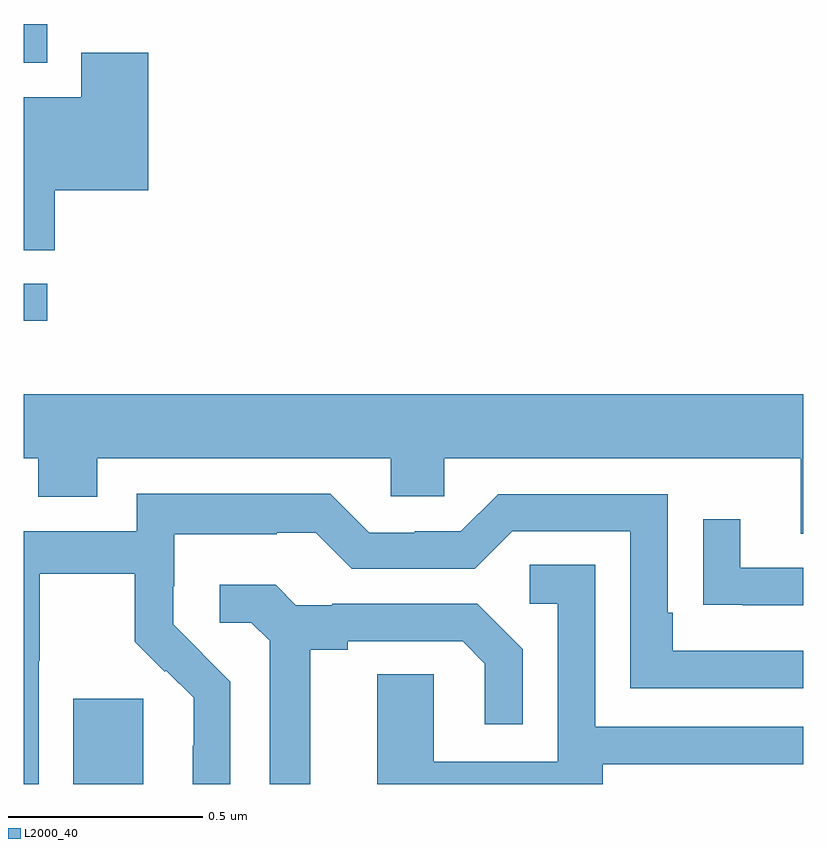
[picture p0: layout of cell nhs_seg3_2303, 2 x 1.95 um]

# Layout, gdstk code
import gdstk
lib = gdstk.Library(unit=1e-6, precision=1e-09)
def R(c, l, rs):  # rectangles x0, y0, x1, y1
    for r in rs: c.add(gdstk.rectangle(r[:2], r[2:], *l))
def P(c, l, *ps):  # polygons
    for p in ps: c.add(gdstk.Polygon(p, *l))
L2000_40 = (2000, 40)

nhs_seg3_2303 = lib.new_cell('nhs_seg3_2303')
R(nhs_seg3_2303, L2000_40, [(139.127,713.4,139.306,713.619), (139,714.588,139.06,714.684), (139,715.251,139.06,715.35)])
P(nhs_seg3_2303, L2000_40, [(139.079,714.923),(139.319,714.923),(139.319,715.276),(139.148,715.276),(139.148,715.162),(139,715.162),(139,714.769),(139.079,714.769)],
  [(141,714.4),(139,714.4),(139,714.236),(139.037,714.236),(139.037,714.137),(139.189,714.137),(139.189,714.236),(139.941,714.236),(139.941,714.138),(140.079,714.138),(140.079,714.236),(140.993,714.236),(140.993,714.042),(141,714.042)],
  [(139.038,713.716),(139.041,713.716),(139.041,713.94),(139.285,713.94),(139.285,713.765),(139.362,713.688),(139.365,713.691),(139.436,713.621),(139.436,713.498),(139.434,713.498),(139.434,713.4),(139.53,713.4),(139.53,713.662),(139.457,713.735),(139.458,713.736),(139.384,713.81),(139.384,713.907),(139.386,713.907),(139.386,714.041),(139.649,714.041),(139.649,714.045),(139.749,714.045),(139.842,713.952),(140.157,713.952),(140.253,714.048),(140.556,714.048),(140.556,713.646),(141,713.646),(141,713.742),(140.665,713.742),(140.665,713.839),(140.652,713.839),(140.652,714.144),(140.217,714.144),(140.121,714.048),(140.003,714.048),(140.003,714.045),(139.887,714.045),(139.787,714.145),(139.29,714.145),(139.29,714.048),(139,714.048),(139,713.4),(139.038,713.4)],
  [(141,713.955),(140.839,713.955),(140.839,714.079),(140.743,714.079),(140.743,713.86),(140.845,713.86),(140.845,713.859),(141,713.859)],
  [(140.485,713.451),(141,713.451),(141,713.547),(140.466,713.547),(140.466,713.963),(140.298,713.963),(140.298,713.862),(140.37,713.862),(140.37,713.457),(140.052,713.457),(140.052,713.681),(139.907,713.681),(139.907,713.4),(140.485,713.4)],
  [(139.735,713.744),(139.831,713.744),(139.831,713.766),(140.126,713.766),(140.183,713.709),(140.183,713.553),(140.28,713.553),(140.28,713.746),(140.164,713.862),(139.792,713.862),(139.792,713.859),(139.698,713.859),(139.646,713.911),(139.503,713.911),(139.503,713.814),(139.584,713.814),(139.631,713.767),(139.631,713.4),(139.735,713.4)])

lib.write_gds('nhs_seg3_2303.gds')
